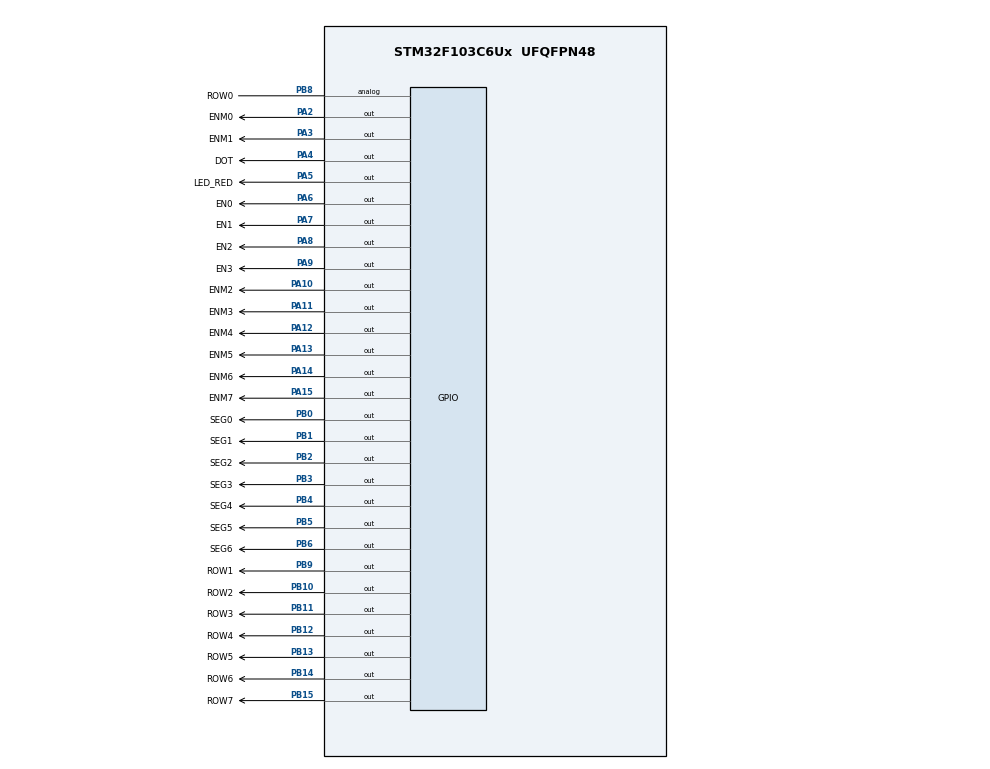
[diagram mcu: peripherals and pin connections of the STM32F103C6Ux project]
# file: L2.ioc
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Mcu.Family=STM32F1
Mcu.Name=STM32F103C6Ux
Mcu.Package=UFQFPN48
NVIC.PriorityGroup=NVIC_PRIORITYGROUP_4
NVIC.TIM2_IRQn=true\:0\:0\:false\:false\:true\:true\:true
PA10.GPIO_Label=ENM2
PA10.Signal=GPIO_Output
PA11.GPIO_Label=ENM3
PA11.Signal=GPIO_Output
PA12.GPIO_Label=ENM4
PA12.Signal=GPIO_Output
PA13.GPIO_Label=ENM5
PA13.Signal=GPIO_Output
PA14.GPIO_Label=ENM6
PA14.Signal=GPIO_Output
PA15.GPIO_Label=ENM7
PA15.Signal=GPIO_Output
PA2.GPIO_Label=ENM0
PA2.Signal=GPIO_Output
PA3.GPIO_Label=ENM1
PA3.Signal=GPIO_Output
PA4.GPIO_Label=DOT
PA4.Signal=GPIO_Output
PA5.GPIO_Label=LED_RED
PA5.Signal=GPIO_Output
PA6.GPIO_Label=EN0
PA6.Signal=GPIO_Output
PA7.GPIO_Label=EN1
PA7.Signal=GPIO_Output
PA8.GPIO_Label=EN2
PA8.Signal=GPIO_Output
PA9.GPIO_Label=EN3
PA9.Signal=GPIO_Output
PB0.GPIO_Label=SEG0
PB0.Signal=GPIO_Output
PB1.GPIO_Label=SEG1
PB1.Signal=GPIO_Output
PB10.GPIO_Label=ROW2
PB10.Signal=GPIO_Output
PB11.GPIO_Label=ROW3
PB11.Signal=GPIO_Output
PB12.GPIO_Label=ROW4
PB12.Signal=GPIO_Output
PB13.GPIO_Label=ROW5
PB13.Signal=GPIO_Output
PB14.GPIO_Label=ROW6
PB14.Signal=GPIO_Output
PB15.GPIO_Label=ROW7
PB15.Signal=GPIO_Output
PB2.GPIO_Label=SEG2
PB2.Signal=GPIO_Output
PB3.GPIO_Label=SEG3
PB3.Signal=GPIO_Output
PB4.GPIO_Label=SEG4
PB4.Signal=GPIO_Output
PB5.GPIO_Label=SEG5
PB5.Signal=GPIO_Output
PB6.GPIO_Label=SEG6
PB6.Signal=GPIO_Output
PB8.GPIO_Label=ROW0
PB8.Signal=GPIO_Analog
PB9.GPIO_Label=ROW1
PB9.Signal=GPIO_Output
ProjectManager.HeapSize=0x200
ProjectManager.StackSize=0x400
ProjectManager.TargetToolchain=STM32CubeIDE
RCC.APB1Freq_Value=8000000
RCC.APB2Freq_Value=8000000
TIM2.Period=9
TIM2.Prescaler=7999
VP_SYS_VS_ND.Mode=No_Debug
VP_TIM2_VS_ClockSourceINT.Mode=Internal
board=custom

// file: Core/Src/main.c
/* USER CODE BEGIN Header */
/**
  ******************************************************************************
  * @file           : main.c
  * @brief          : Main program body
  ******************************************************************************
  * @attention
  *
  * <h2><center>&copy; Copyright (c) 2025 STMicroelectronics.
  * All rights reserved.</center></h2>
  *
  * This software component is licensed by ST under BSD 3-Clause license,
  * the "License"; You may not use this file except in compliance with the
  * License. You may obtain a copy of the License at:
  *                        opensource.org/licenses/BSD-3-Clause
  *
  ******************************************************************************
  */
/* USER CODE END Header */
#include "main.h"

/* USER CODE BEGIN Includes */
#include "software_timer.h"
/* USER CODE END Includes */

TIM_HandleTypeDef htim2;

void SystemClock_Config(void);
static void MX_GPIO_Init(void);
static void MX_TIM2_Init(void);

/* USER CODE BEGIN 0 */
void display7SEG(int num) {
	switch(num) {
		case 0: // a b c d e f
			HAL_GPIO_WritePin(SEG0_GPIO_Port, SEG0_Pin, GPIO_PIN_RESET); // a
			HAL_GPIO_WritePin(SEG1_GPIO_Port, SEG1_Pin, GPIO_PIN_RESET); // b
			HAL_GPIO_WritePin(SEG2_GPIO_Port, SEG2_Pin, GPIO_PIN_RESET); // c
			HAL_GPIO_WritePin(SEG3_GPIO_Port, SEG3_Pin, GPIO_PIN_RESET); // d
			HAL_GPIO_WritePin(SEG4_GPIO_Port, SEG4_Pin, GPIO_PIN_RESET); // e
			HAL_GPIO_WritePin(SEG5_GPIO_Port, SEG5_Pin, GPIO_PIN_RESET); // f
			HAL_GPIO_WritePin(SEG6_GPIO_Port, SEG6_Pin, GPIO_PIN_SET);   // g OFF
			break;

		case 1: // b c
			HAL_GPIO_WritePin(SEG0_GPIO_Port, SEG0_Pin, GPIO_PIN_SET);   // a OFF
			HAL_GPIO_WritePin(SEG1_GPIO_Port, SEG1_Pin, GPIO_PIN_RESET); // b
			HAL_GPIO_WritePin(SEG2_GPIO_Port, SEG2_Pin, GPIO_PIN_RESET); // c
			HAL_GPIO_WritePin(SEG3_GPIO_Port, SEG3_Pin, GPIO_PIN_SET);   // d OFF
			HAL_GPIO_WritePin(SEG4_GPIO_Port, SEG4_Pin, GPIO_PIN_SET);   // e OFF
			HAL_GPIO_WritePin(SEG5_GPIO_Port, SEG5_Pin, GPIO_PIN_SET);   // f OFF
			HAL_GPIO_WritePin(SEG6_GPIO_Port, SEG6_Pin, GPIO_PIN_SET);   // g OFF
			break;

		case 2: // a b d e g
			HAL_GPIO_WritePin(SEG0_GPIO_Port, SEG0_Pin, GPIO_PIN_RESET); // a
			HAL_GPIO_WritePin(SEG1_GPIO_Port, SEG1_Pin, GPIO_PIN_RESET); // b
			HAL_GPIO_WritePin(SEG2_GPIO_Port, SEG2_Pin, GPIO_PIN_SET);   // c OFF
			HAL_GPIO_WritePin(SEG3_GPIO_Port, SEG3_Pin, GPIO_PIN_RESET); // d
			HAL_GPIO_WritePin(SEG4_GPIO_Port, SEG4_Pin, GPIO_PIN_RESET); // e
			HAL_GPIO_WritePin(SEG5_GPIO_Port, SEG5_Pin, GPIO_PIN_SET);   // f OFF
			HAL_GPIO_WritePin(SEG6_GPIO_Port, SEG6_Pin, GPIO_PIN_RESET); // g
			break;

		case 3: // a b c d g
			HAL_GPIO_WritePin(SEG0_GPIO_Port, SEG0_Pin, GPIO_PIN_RESET); // a
			HAL_GPIO_WritePin(SEG1_GPIO_Port, SEG1_Pin, GPIO_PIN_RESET); // b
			HAL_GPIO_WritePin(SEG2_GPIO_Port, SEG2_Pin, GPIO_PIN_RESET); // c
			HAL_GPIO_WritePin(SEG3_GPIO_Port, SEG3_Pin, GPIO_PIN_RESET); // d
			HAL_GPIO_WritePin(SEG4_GPIO_Port, SEG4_Pin, GPIO_PIN_SET);   // e OFF
			HAL_GPIO_WritePin(SEG5_GPIO_Port, SEG5_Pin, GPIO_PIN_SET);   // f OFF
			HAL_GPIO_WritePin(SEG6_GPIO_Port, SEG6_Pin, GPIO_PIN_RESET); // g
			break;

		case 4: // b c f g
			HAL_GPIO_WritePin(SEG0_GPIO_Port, SEG0_Pin, GPIO_PIN_SET);   // a OFF
			HAL_GPIO_WritePin(SEG1_GPIO_Port, SEG1_Pin, GPIO_PIN_RESET); // b
			HAL_GPIO_WritePin(SEG2_GPIO_Port, SEG2_Pin, GPIO_PIN_RESET); // c
			HAL_GPIO_WritePin(SEG3_GPIO_Port, SEG3_Pin, GPIO_PIN_SET);   // d OFF
			HAL_GPIO_WritePin(SEG4_GPIO_Port, SEG4_Pin, GPIO_PIN_SET);   // e OFF
			HAL_GPIO_WritePin(SEG5_GPIO_Port, SEG5_Pin, GPIO_PIN_RESET); // f
			HAL_GPIO_WritePin(SEG6_GPIO_Port, SEG6_Pin, GPIO_PIN_RESET); // g
			break;

		case 5: // a c d f g
			HAL_GPIO_WritePin(SEG0_GPIO_Port, SEG0_Pin, GPIO_PIN_RESET); // a
			HAL_GPIO_WritePin(SEG1_GPIO_Port, SEG1_Pin, GPIO_PIN_SET);   // b OFF
			HAL_GPIO_WritePin(SEG2_GPIO_Port, SEG2_Pin, GPIO_PIN_RESET); // c
			HAL_GPIO_WritePin(SEG3_GPIO_Port, SEG3_Pin, GPIO_PIN_RESET); // d
			HAL_GPIO_WritePin(SEG4_GPIO_Port, SEG4_Pin, GPIO_PIN_SET);   // e OFF
			HAL_GPIO_WritePin(SEG5_GPIO_Port, SEG5_Pin, GPIO_PIN_RESET); // f
			HAL_GPIO_WritePin(SEG6_GPIO_Port, SEG6_Pin, GPIO_PIN_RESET); // g
			break;

		case 6: // a c d e f g
			HAL_GPIO_WritePin(SEG0_GPIO_Port, SEG0_Pin, GPIO_PIN_RESET); // a
			HAL_GPIO_WritePin(SEG1_GPIO_Port, SEG1_Pin, GPIO_PIN_SET);   // b OFF
			HAL_GPIO_WritePin(SEG2_GPIO_Port, SEG2_Pin, GPIO_PIN_RESET); // c
			HAL_GPIO_WritePin(SEG3_GPIO_Port, SEG3_Pin, GPIO_PIN_RESET); // d
			HAL_GPIO_WritePin(SEG4_GPIO_Port, SEG4_Pin, GPIO_PIN_RESET); // e
			HAL_GPIO_WritePin(SEG5_GPIO_Port, SEG5_Pin, GPIO_PIN_RESET); // f
			HAL_GPIO_WritePin(SEG6_GPIO_Port, SEG6_Pin, GPIO_PIN_RESET); // g
			break;

		case 7: // a b c
			HAL_GPIO_WritePin(SEG0_GPIO_Port, SEG0_Pin, GPIO_PIN_RESET); // a
			HAL_GPIO_WritePin(SEG1_GPIO_Port, SEG1_Pin, GPIO_PIN_RESET); // b
			HAL_GPIO_WritePin(SEG2_GPIO_Port, SEG2_Pin, GPIO_PIN_RESET); // c
			HAL_GPIO_WritePin(SEG3_GPIO_Port, SEG3_Pin, GPIO_PIN_SET);   // d OFF
			HAL_GPIO_WritePin(SEG4_GPIO_Port, SEG4_Pin, GPIO_PIN_SET);   // e OFF
			HAL_GPIO_WritePin(SEG5_GPIO_Port, SEG5_Pin, GPIO_PIN_SET);   // f OFF
			HAL_GPIO_WritePin(SEG6_GPIO_Port, SEG6_Pin, GPIO_PIN_SET);   // g OFF
			break;

		case 8: // all on
			HAL_GPIO_WritePin(SEG0_GPIO_Port, SEG0_Pin, GPIO_PIN_RESET); // a
			HAL_GPIO_WritePin(SEG1_GPIO_Port, SEG1_Pin, GPIO_PIN_RESET); // b
			HAL_GPIO_WritePin(SEG2_GPIO_Port, SEG2_Pin, GPIO_PIN_RESET); // c
			HAL_GPIO_WritePin(SEG3_GPIO_Port, SEG3_Pin, GPIO_PIN_RESET); // d
			HAL_GPIO_WritePin(SEG4_GPIO_Port, SEG4_Pin, GPIO_PIN_RESET); // e
			HAL_GPIO_WritePin(SEG5_GPIO_Port, SEG5_Pin, GPIO_PIN_RESET); // f
			HAL_GPIO_WritePin(SEG6_GPIO_Port, SEG6_Pin, GPIO_PIN_RESET); // g
			break;

		case 9: // a b c d f g
			HAL_GPIO_WritePin(SEG0_GPIO_Port, SEG0_Pin, GPIO_PIN_RESET); // a
			HAL_GPIO_WritePin(SEG1_GPIO_Port, SEG1_Pin, GPIO_PIN_RESET); // b
			HAL_GPIO_WritePin(SEG2_GPIO_Port, SEG2_Pin, GPIO_PIN_RESET); // c
			HAL_GPIO_WritePin(SEG3_GPIO_Port, SEG3_Pin, GPIO_PIN_RESET); // d
			HAL_GPIO_WritePin(SEG4_GPIO_Port, SEG4_Pin, GPIO_PIN_SET);   // e OFF
			HAL_GPIO_WritePin(SEG5_GPIO_Port, SEG5_Pin, GPIO_PIN_RESET); // f
			HAL_GPIO_WritePin(SEG6_GPIO_Port, SEG6_Pin, GPIO_PIN_RESET); // g
			break;

		default: // turn off all
			HAL_GPIO_WritePin(SEG0_GPIO_Port, SEG0_Pin, GPIO_PIN_SET);
			HAL_GPIO_WritePin(SEG1_GPIO_Port, SEG1_Pin, GPIO_PIN_SET);
			HAL_GPIO_WritePin(SEG2_GPIO_Port, SEG2_Pin, GPIO_PIN_SET);
			HAL_GPIO_WritePin(SEG3_GPIO_Port, SEG3_Pin, GPIO_PIN_SET);
			HAL_GPIO_WritePin(SEG4_GPIO_Port, SEG4_Pin, GPIO_PIN_SET);
			HAL_GPIO_WritePin(SEG5_GPIO_Port, SEG5_Pin, GPIO_PIN_SET);
			HAL_GPIO_WritePin(SEG6_GPIO_Port, SEG6_Pin, GPIO_PIN_SET);
			break;
	}
}

const int MAX_LED = 4;
int index_led = 0;
int led_buffer[4] = {1, 2, 3, 4};
void update7SEG(int index) {
	switch(index) {
	case 0:
		HAL_GPIO_WritePin(EN0_GPIO_Port, EN0_Pin, RESET);
		HAL_GPIO_WritePin(EN1_GPIO_Port, EN1_Pin, SET);
		HAL_GPIO_WritePin(EN2_GPIO_Port, EN2_Pin, SET);
		HAL_GPIO_WritePin(EN3_GPIO_Port, EN3_Pin, SET);
		display7SEG(led_buffer[0]);
		break;
	case 1:
		HAL_GPIO_WritePin(EN0_GPIO_Port, EN0_Pin, SET);
		HAL_GPIO_WritePin(EN1_GPIO_Port, EN1_Pin, RESET);
		HAL_GPIO_WritePin(EN2_GPIO_Port, EN2_Pin, SET);
		HAL_GPIO_WritePin(EN3_GPIO_Port, EN3_Pin, SET);
		display7SEG(led_buffer[1]);
		break;
	case 2:
		HAL_GPIO_WritePin(EN0_GPIO_Port, EN0_Pin, SET);
		HAL_GPIO_WritePin(EN1_GPIO_Port, EN1_Pin, SET);
		HAL_GPIO_WritePin(EN2_GPIO_Port, EN2_Pin, RESET);
		HAL_GPIO_WritePin(EN3_GPIO_Port, EN3_Pin, SET);
		display7SEG(led_buffer[2]);
		break;
	case 3:
		HAL_GPIO_WritePin(EN0_GPIO_Port, EN0_Pin, SET);
		HAL_GPIO_WritePin(EN1_GPIO_Port, EN1_Pin, SET);
		HAL_GPIO_WritePin(EN2_GPIO_Port, EN2_Pin, SET);
		HAL_GPIO_WritePin(EN3_GPIO_Port, EN3_Pin, RESET);
		display7SEG(led_buffer[3]);
		break;
	default:
		break;
	}
}

int hour = 15, minute = 8, second = 50;
void updateClockBuffer() {
	led_buffer[0] = (hour/10)%10;
	led_buffer[1] = (hour%10);
	led_buffer[2] = (minute/10)%10;
	led_buffer[3] = (minute%10);
}

const int MAX_LED_MATRIX = 8;
int index_led_matrix = 0;
uint8_t matrix_buffer[8] = {0x18, 0x3C, 0x66, 0x66, 0x7E, 0x7E, 0x66, 0x66};

void disableAllRows(void) {
    HAL_GPIO_WritePin(ROW0_GPIO_Port, ROW0_Pin, GPIO_PIN_SET);
    HAL_GPIO_WritePin(ROW1_GPIO_Port, ROW1_Pin, GPIO_PIN_SET);
    HAL_GPIO_WritePin(ROW2_GPIO_Port, ROW2_Pin, GPIO_PIN_SET);
    HAL_GPIO_WritePin(ROW3_GPIO_Port, ROW3_Pin, GPIO_PIN_SET);
    HAL_GPIO_WritePin(ROW4_GPIO_Port, ROW4_Pin, GPIO_PIN_SET);
    HAL_GPIO_WritePin(ROW5_GPIO_Port, ROW5_Pin, GPIO_PIN_SET);
    HAL_GPIO_WritePin(ROW6_GPIO_Port, ROW6_Pin, GPIO_PIN_SET);
    HAL_GPIO_WritePin(ROW7_GPIO_Port, ROW7_Pin, GPIO_PIN_SET);
}

void setColumns(uint8_t pattern) {
    HAL_GPIO_WritePin(ENM0_GPIO_Port, ENM0_Pin, (pattern & (1 << 0)) ? GPIO_PIN_RESET : GPIO_PIN_SET);
    HAL_GPIO_WritePin(ENM1_GPIO_Port, ENM1_Pin, (pattern & (1 << 1)) ? GPIO_PIN_RESET : GPIO_PIN_SET);
    HAL_GPIO_WritePin(ENM2_GPIO_Port, ENM2_Pin, (pattern & (1 << 2)) ? GPIO_PIN_RESET : GPIO_PIN_SET);
    HAL_GPIO_WritePin(ENM3_GPIO_Port, ENM3_Pin, (pattern & (1 << 3)) ? GPIO_PIN_RESET : GPIO_PIN_SET);
    HAL_GPIO_WritePin(ENM4_GPIO_Port, ENM4_Pin, (pattern & (1 << 4)) ? GPIO_PIN_RESET : GPIO_PIN_SET);
	HAL_GPIO_WritePin(ENM5_GPIO_Port, ENM5_Pin, (pattern & (1 << 5)) ? GPIO_PIN_RESET : GPIO_PIN_SET);
	HAL_GPIO_WritePin(ENM6_GPIO_Port, ENM6_Pin, (pattern & (1 << 6)) ? GPIO_PIN_RESET : GPIO_PIN_SET);
	HAL_GPIO_WritePin(ENM7_GPIO_Port, ENM7_Pin, (pattern & (1 << 7)) ? GPIO_PIN_RESET : GPIO_PIN_SET);
}

void updateLEDMatrix(int index) {
	disableAllRows();
	setColumns(matrix_buffer[index]);
	switch(index) {
	case 0:
		HAL_GPIO_WritePin(ROW0_GPIO_Port, ROW0_Pin, RESET);
		break;
	case 1:
		HAL_GPIO_WritePin(ROW1_GPIO_Port, ROW1_Pin, RESET);
		break;
	case 2:
		HAL_GPIO_WritePin(ROW2_GPIO_Port, ROW2_Pin, RESET);
		break;
	case 3:
		HAL_GPIO_WritePin(ROW3_GPIO_Port, ROW3_Pin, RESET);
		break;
	case 4:
		HAL_GPIO_WritePin(ROW4_GPIO_Port, ROW4_Pin, RESET);
		break;
	case 5:
		HAL_GPIO_WritePin(ROW5_GPIO_Port, ROW5_Pin, RESET);
		break;
	case 6:
		HAL_GPIO_WritePin(ROW6_GPIO_Port, ROW6_Pin, RESET);
		break;
	case 7:
		HAL_GPIO_WritePin(ROW7_GPIO_Port, ROW7_Pin, RESET);
		break;
	}
}

void shiftUp() {
	int tmp = matrix_buffer[0];
	matrix_buffer[0] = matrix_buffer[1];
	matrix_buffer[1] = matrix_buffer[2];
	matrix_buffer[2] = matrix_buffer[3];
	matrix_buffer[3] = matrix_buffer[4];
	matrix_buffer[4] = matrix_buffer[5];
	matrix_buffer[5] = matrix_buffer[6];
	matrix_buffer[6] = tmp;
}
/* USER CODE END 0 */

int main(void)
{
  /* USER CODE BEGIN 1 */
	setTimer0(100);
	setTimer1(25);
	setTimer2(1);
	setTimer3(100);
  /* USER CODE END 1 */

  /* MCU Configuration--------------------------------------------------------*/

  /* Reset of all peripherals, Initializes the Flash interface and the Systick. */
  HAL_Init();

  /* Configure the system clock */
  SystemClock_Config();

  /* Initialize all configured peripherals */
  MX_GPIO_Init();
  MX_TIM2_Init();
  /* USER CODE BEGIN 2 */
  HAL_TIM_Base_Start_IT(&htim2);
  /* USER CODE END 2 */

  /* Infinite loop */
  /* USER CODE BEGIN WHILE */
  while (1)
  {
//	  HAL_Delay(1000);
	  if (timer0_flag == 1) {
		  HAL_GPIO_TogglePin(LED_RED_GPIO_Port, LED_RED_Pin);
		  HAL_GPIO_TogglePin(DOT_GPIO_Port, DOT_Pin);
		  second++;
		  if (second >= 60) {
			  second = 0;
			  minute++;
		  }
		  if (minute >= 60) {
			  minute = 0;
			  hour++;
		  }
		  if (hour >= 24) {
			  hour = 0;
		  }
		  updateClockBuffer();
		  setTimer0(100);
	  }

	  if (timer1_flag == 1) {
		  if (index_led < 0 || index_led > 3) {
			  index_led = 0;
		  }
		 update7SEG(index_led++);
		 setTimer1(25);
	  }

	  if (timer2_flag == 1) {
		  if (index_led_matrix < 0 || index_led_matrix > 7) {
			 index_led_matrix = 0;
		  }
		 updateLEDMatrix(index_led_matrix++);
		 setTimer2(1);
	  }

	  if (timer3_flag == 1) {
		  shiftUp();
		  setTimer3(100);
	  }
    /* USER CODE END WHILE */

  }
}

void SystemClock_Config(void)
{
  RCC_OscInitTypeDef RCC_OscInitStruct = {0};
  RCC_ClkInitTypeDef RCC_ClkInitStruct = {0};

  /** Initializes the RCC Oscillators according to the specified parameters
  * in the RCC_OscInitTypeDef structure.
  */
  RCC_OscInitStruct.OscillatorType = RCC_OSCILLATORTYPE_HSI;
  RCC_OscInitStruct.HSIState = RCC_HSI_ON;
  RCC_OscInitStruct.HSICalibrationValue = RCC_HSICALIBRATION_DEFAULT;
  RCC_OscInitStruct.PLL.PLLState = RCC_PLL_NONE;
  if (HAL_RCC_OscConfig(&RCC_OscInitStruct) != HAL_OK)
  {
    Error_Handler();
  }
  /** Initializes the CPU, AHB and APB buses clocks
  */
  RCC_ClkInitStruct.ClockType = RCC_CLOCKTYPE_HCLK|RCC_CLOCKTYPE_SYSCLK
                              |RCC_CLOCKTYPE_PCLK1|RCC_CLOCKTYPE_PCLK2;
  RCC_ClkInitStruct.SYSCLKSource = RCC_SYSCLKSOURCE_HSI;
  RCC_ClkInitStruct.AHBCLKDivider = RCC_SYSCLK_DIV1;
  RCC_ClkInitStruct.APB1CLKDivider = RCC_HCLK_DIV1;
  RCC_ClkInitStruct.APB2CLKDivider = RCC_HCLK_DIV1;

  if (HAL_RCC_ClockConfig(&RCC_ClkInitStruct, FLASH_LATENCY_0) != HAL_OK)
  {
    Error_Handler();
  }
}

static void MX_TIM2_Init(void)
{

  TIM_ClockConfigTypeDef sClockSourceConfig = {0};
  TIM_MasterConfigTypeDef sMasterConfig = {0};

  htim2.Instance = TIM2;
  htim2.Init.Prescaler = 7999;
  htim2.Init.CounterMode = TIM_COUNTERMODE_UP;
  htim2.Init.Period = 9;
  htim2.Init.ClockDivision = TIM_CLOCKDIVISION_DIV1;
  htim2.Init.AutoReloadPreload = TIM_AUTORELOAD_PRELOAD_DISABLE;
  if (HAL_TIM_Base_Init(&htim2) != HAL_OK)
  {
    Error_Handler();
  }
  sClockSourceConfig.ClockSource = TIM_CLOCKSOURCE_INTERNAL;
  if (HAL_TIM_ConfigClockSource(&htim2, &sClockSourceConfig) != HAL_OK)
  {
    Error_Handler();
  }
  sMasterConfig.MasterOutputTrigger = TIM_TRGO_RESET;
  sMasterConfig.MasterSlaveMode = TIM_MASTERSLAVEMODE_DISABLE;
  if (HAL_TIMEx_MasterConfigSynchronization(&htim2, &sMasterConfig) != HAL_OK)
  {
    Error_Handler();
  }

}

static void MX_GPIO_Init(void)
{
  GPIO_InitTypeDef GPIO_InitStruct = {0};

  /* GPIO Ports Clock Enable */
  __HAL_RCC_GPIOA_CLK_ENABLE();
  __HAL_RCC_GPIOB_CLK_ENABLE();

  /*Configure GPIO pin Output Level */
  HAL_GPIO_WritePin(GPIOA, ENM0_Pin|ENM1_Pin|DOT_Pin|LED_RED_Pin
                          |EN0_Pin|EN1_Pin|EN2_Pin|EN3_Pin
                          |ENM2_Pin|ENM3_Pin|ENM4_Pin|ENM5_Pin
                          |ENM6_Pin|ENM7_Pin, GPIO_PIN_RESET);

  /*Configure GPIO pin Output Level */
  HAL_GPIO_WritePin(GPIOB, SEG0_Pin|SEG1_Pin|SEG2_Pin|ROW2_Pin
                          |ROW3_Pin|ROW4_Pin|ROW5_Pin|ROW6_Pin
                          |ROW7_Pin|SEG3_Pin|SEG4_Pin|SEG5_Pin
                          |SEG6_Pin|ROW0_Pin|ROW1_Pin, GPIO_PIN_RESET);

  /*Configure GPIO pins : ENM0_Pin ENM1_Pin DOT_Pin LED_RED_Pin
                           EN0_Pin EN1_Pin EN2_Pin EN3_Pin
                           ENM2_Pin ENM3_Pin ENM4_Pin ENM5_Pin
                           ENM6_Pin ENM7_Pin */
  GPIO_InitStruct.Pin = ENM0_Pin|ENM1_Pin|DOT_Pin|LED_RED_Pin
                          |EN0_Pin|EN1_Pin|EN2_Pin|EN3_Pin
                          |ENM2_Pin|ENM3_Pin|ENM4_Pin|ENM5_Pin
                          |ENM6_Pin|ENM7_Pin;
  GPIO_InitStruct.Mode = GPIO_MODE_OUTPUT_PP;
  GPIO_InitStruct.Pull = GPIO_NOPULL;
  GPIO_InitStruct.Speed = GPIO_SPEED_FREQ_LOW;
  HAL_GPIO_Init(GPIOA, &GPIO_InitStruct);

  /*Configure GPIO pins : SEG0_Pin SEG1_Pin SEG2_Pin ROW2_Pin
                           ROW3_Pin ROW4_Pin ROW5_Pin ROW6_Pin
                           ROW7_Pin SEG3_Pin SEG4_Pin SEG5_Pin
                           SEG6_Pin ROW0_Pin ROW1_Pin */
  GPIO_InitStruct.Pin = SEG0_Pin|SEG1_Pin|SEG2_Pin|ROW2_Pin
                          |ROW3_Pin|ROW4_Pin|ROW5_Pin|ROW6_Pin
                          |ROW7_Pin|SEG3_Pin|SEG4_Pin|SEG5_Pin
                          |SEG6_Pin|ROW0_Pin|ROW1_Pin;
  GPIO_InitStruct.Mode = GPIO_MODE_OUTPUT_PP;
  GPIO_InitStruct.Pull = GPIO_NOPULL;
  GPIO_InitStruct.Speed = GPIO_SPEED_FREQ_LOW;
  HAL_GPIO_Init(GPIOB, &GPIO_InitStruct);

}

/* USER CODE BEGIN 4 */
//int counter0 = 100;
//int counter1 = 25;
void HAL_TIM_PeriodElapsedCallback(TIM_HandleTypeDef *htim) {
	timerRun();
}
/* USER CODE END 4 */

void Error_Handler(void)
{
  __disable_irq();
  while (1)
  {
  }
}

/************************ (C) COPYRIGHT STMicroelectronics *****END OF FILE****/
